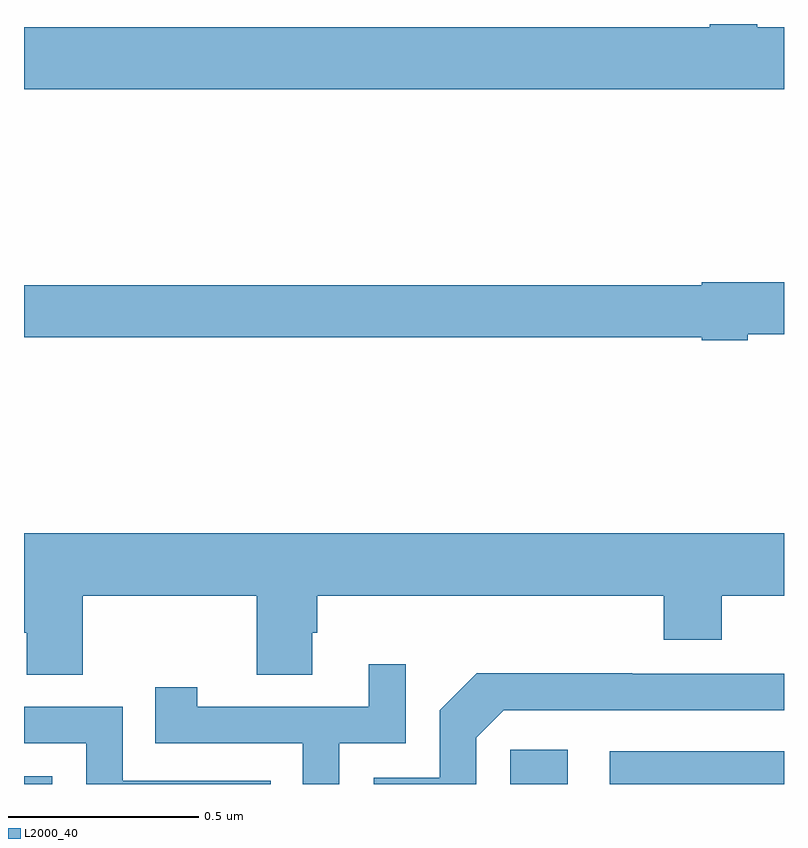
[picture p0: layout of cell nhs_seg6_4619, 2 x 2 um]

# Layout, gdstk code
import gdstk
lib = gdstk.Library(unit=1e-6, precision=1e-09)
def R(c, l, rs):  # rectangles x0, y0, x1, y1
    for r in rs: c.add(gdstk.rectangle(r[:2], r[2:], *l))
def P(c, l, *ps):  # polygons
    for p in ps: c.add(gdstk.Polygon(p, *l))
L2000_40 = (2000, 40)

nhs_seg6_4619 = lib.new_cell('nhs_seg6_4619')
R(nhs_seg6_4619, L2000_40, [(172,953.5,172.074,953.521), (173.28,953.5,173.431,953.59), (173.541,953.5,174,953.586)])
P(nhs_seg6_4619, L2000_40, [(174,955.492),(173.929,955.492),(173.929,955.5),(173.804,955.5),(173.804,955.492),(172,955.492),(172,955.328),(174,955.328)],
  [(173.904,954.683),(174,954.683),(174,954.82),(173.784,954.82),(173.784,954.812),(172,954.812),(172,954.676),(173.784,954.676),(173.784,954.668),(173.904,954.668)],
  [(172.155,953.996),(172.612,953.996),(172.612,953.788),(172.759,953.788),(172.759,953.898),(172.772,953.898),(172.772,953.996),(173.684,953.996),(173.684,953.879),(173.836,953.879),(173.836,953.996),(174,953.996),(174,954.16),(172,954.16),(172,953.898),(172.007,953.898),(172.007,953.788),(172.155,953.788)],
  [(172.83,953.607),(173.004,953.607),(173.004,953.815),(172.907,953.815),(172.907,953.703),(172.456,953.703),(172.456,953.755),(172.345,953.755),(172.345,953.607),(172.734,953.607),(172.734,953.5),(172.83,953.5)],
  [(173.19,953.622),(173.262,953.694),(174,953.694),(174,953.79),(173.6,953.79),(173.6,953.792),(173.192,953.792),(173.094,953.694),(173.094,953.517),(172.92,953.517),(172.92,953.5),(173.19,953.5)],
  [(172.649,953.508),(172.26,953.508),(172.26,953.703),(172,953.703),(172,953.607),(172.164,953.607),(172.164,953.5),(172.649,953.5)])

lib.write_gds('nhs_seg6_4619.gds')
